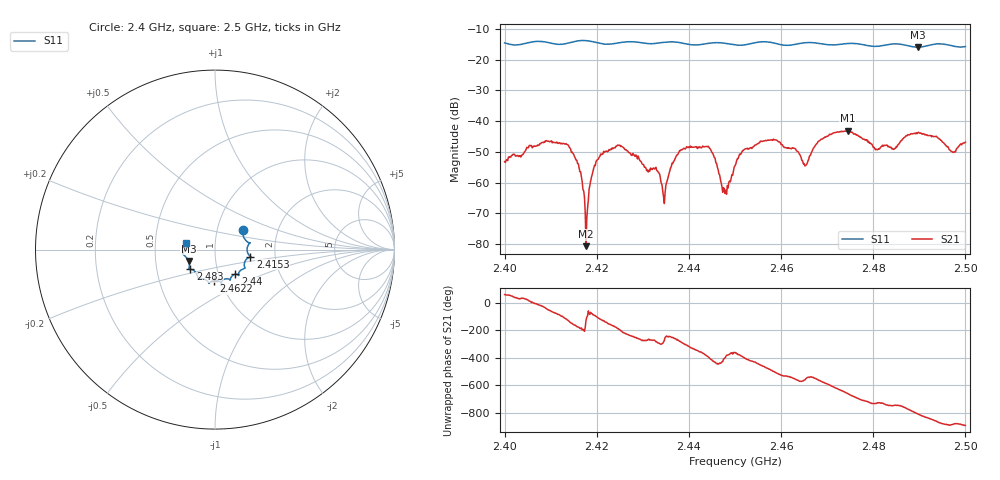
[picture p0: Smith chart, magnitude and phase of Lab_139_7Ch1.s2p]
# Hz S RI R 50
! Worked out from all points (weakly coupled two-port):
!   601 points, 2.4 GHz to 2.5 GHz, reference 50 ohm
!   highest |S21| = -43.09 dB at 2.4745 GHz (marker M1); lowest = -80.7 dB at 2.4177 GHz (marker M2)
!   lowest |S11| = -15.9 dB at 2.4897 GHz (marker M3), VSWR 1.38, Z = 36.9 - j4.81 ohm
!   |S11| at or under -10 dB: start of sweep to end of sweep
!   S12 and S22 are empty: the file has one direction only
!   S11 on the Smith chart (normalised r, x): 2.4 GHz: 1.33, +0.29; 2.4153 GHz: 1.48, -0.12; 2.44 GHz: 1.20, -0.34; 2.4622 GHz: 0.93, -0.33; 2.483 GHz: 0.74, -0.17; 2.5 GHz: 0.72, +0.06
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2.4e9  0.1552 0.1066  0.00115 0.00186  0 0  0 0
2.409167e9  0.1905 0.033  0.00334 -0.0034  0 0  0 0
2.415333e9  0.1963 -0.0386  -0.0024 -0.000697  0 0  0 0
2.416667e9  0.2019 -0.0426  -0.00122 7.87e-05  0 0  0 0
2.417667e9  0.2007 -0.0423  -5.57e-05 -7.3e-05  0 0  0 0
2.4195e9  0.1893 -0.0433  -0.000115 -0.00189  0 0  0 0
2.421667e9  0.1699 -0.0602  -0.00224 -0.00212  0 0  0 0
2.433333e9  0.1312 -0.1336  0.000576 0.00136  0 0  0 0
2.434667e9  0.1305 -0.1421  3.29e-05 0.000453  0 0  0 0
2.44e9  0.1139 -0.1369  0.00286 0.00254  0 0  0 0
2.4445e9  0.0848 -0.1663  0.00262 -0.00247  0 0  0 0
2.447667e9  0.0823 -0.1672  0.000549 -0.000569  0 0  0 0
2.45e9  0.0647 -0.1627  0.00187 -0.000131  0 0  0 0
2.456e9  0.0384 -0.1929  -0.000913 -0.0046  0 0  0 0
2.462167e9  -0.00743 -0.1737  -0.00354 5.77e-05  0 0  0 0
2.465167e9  -0.0323 -0.1867  -0.00175 0.000656  0 0  0 0
2.466667e9  -0.0341 -0.1876  -0.00317 8.06e-05  0 0  0 0
2.4745e9  -0.0901 -0.1608  0.0037 0.00596  0 0  0 0
2.483e9  -0.1377 -0.1095  0.00377 -0.00158  0 0  0 0
2.483333e9  -0.1401 -0.1093  0.00349 -0.00176  0 0  0 0
2.489667e9  -0.1474 -0.0635  0.000245 -0.00651  0 0  0 0
2.5e9  -0.1597 0.0391  -0.0045 -0.000686  0 0  0 0
